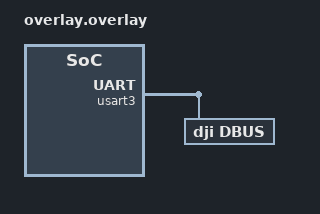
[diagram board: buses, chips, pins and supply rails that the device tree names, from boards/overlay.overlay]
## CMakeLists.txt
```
cmake_minimum_required(VERSION 3.20.0)
find_package(Zephyr REQUIRED HINTS $ENV{ZEPHYR_BASE})
project(OF_driver_DBUS_test)
target_sources(app PRIVATE src/main.cpp)
```

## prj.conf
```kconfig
CONFIG_ONE_FRAMEWORK=y
CONFIG_INPUT_DBUS=y
CONFIG_LOG=y
```

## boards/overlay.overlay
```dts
/ {
	status_leds: status-leds {
		compatible = "status-leds";
		leds = <&leds>;
		heartbeat-led-index = <0>;
		error-led-index = <1>;
	};
};

&usart3 {
	status = "okay";

	dbus {
		compatible = "dji,dbus";
		status = "okay";
	};
};
```

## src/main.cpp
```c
// Copyright (c) 2025. MoonFeather
// SPDX-License-Identifier: BSD-3-Clause

#include <zephyr/device.h>
#include <zephyr/input/input.h>
#include <zephyr/kernel.h>
#include <zephyr/logging/log.h>

// 注册日志模块
LOG_MODULE_REGISTER(dbus_test, CONFIG_LOG_DEFAULT_LEVEL);

// 输入事件回调函数
static void input_callback(input_event* evt, void* user_data)
{
    ARG_UNUSED(user_data);
    // 针对不同类型的输入事件打印不同的日志
    switch (evt->type)
    {
    case INPUT_EV_ABS:
        LOG_INF("摇杆或滚轮: code=%u, value=%d", evt->code, evt->value);
        break;
    case INPUT_EV_REL:
        // LOG_INF("鼠标移动: code=%u, value=%d", evt->code, evt->value);
        break;
    case INPUT_EV_KEY:
        LOG_INF("按键或开关: code=%u, state=%s", evt->code, evt->value ? "按下" : "释放");
        break;
    case INPUT_EV_MSC:
        LOG_INF("其他事件: code=%u, value=%d", evt->code, evt->value);
        break;
    default:
        LOG_INF("未知事件: type=%u, code=%u, value=%d", evt->type, evt->code, evt->value);
        break;
    }
}

int main()
{
    LOG_INF("启动设备");
    // 获取DBUS设备
    const device* dbus_dev = DEVICE_DT_GET_ANY(dji_dbus);

    if (!device_is_ready(dbus_dev))
    {
        LOG_ERR("DBUS设备未就绪，检查硬件连接和配置");
        return -1;
    }

    LOG_INF("DBUS测试已启动");
    LOG_INF("等待遥控器数据...");

    // 注册输入回调函数
    INPUT_CALLBACK_DEFINE(dbus_dev, input_callback, nullptr);

    // 主循环等待数据
    while (true)
    {
        k_sleep(K_SECONDS(10));
        LOG_INF("系统运行中，如有数据会显示在日志中");
    }
}
```
